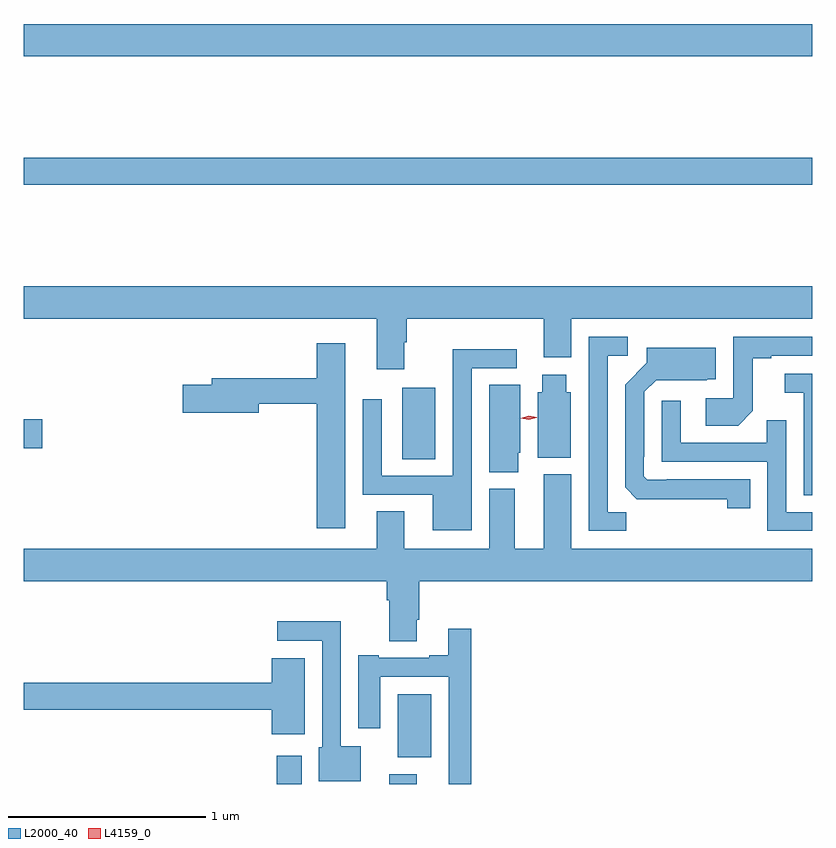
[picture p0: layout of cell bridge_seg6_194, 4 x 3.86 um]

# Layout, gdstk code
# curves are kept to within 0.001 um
import gdstk
lib = gdstk.Library(unit=1e-6, precision=1e-09)
def R(c, l, rs):  # rectangles x0, y0, x1, y1
    for r in rs: c.add(gdstk.rectangle(r[:2], r[2:], *l))
def P(c, l, *ps):  # polygons
    for p in ps: c.add(gdstk.Polygon(p, *l))
L2000_40 = (2000, 40)
L4159_0 = (4159, 0)

bridge_seg6_194 = lib.new_cell('bridge_seg6_194')
R(bridge_seg6_194, L2000_40, [(352.739,942.311,352.864,942.454), (353.309,942.311,353.449,942.361), (353.351,942.446,353.521,942.766), (353.375,943.96,353.542,944.323), (351.455,944.015,351.547,944.162), (351.455,945.352,355.455,945.488), (351.455,946.004,355.455,946.168)])
P(bridge_seg6_194, L2000_40, [(353.386,944.552),(353.399,944.552),(353.399,944.672),(354.092,944.672),(354.092,944.478),(354.232,944.478),(354.232,944.672),(355.455,944.672),(355.455,944.836),(351.455,944.836),(351.455,944.672),(353.246,944.672),(353.246,944.415),(353.386,944.415)],
  [(354.513,943.691),(354.417,943.691),(354.417,944.484),(354.52,944.484),(354.52,944.58),(354.321,944.58),(354.321,943.596),(354.513,943.596)],
  [(355.155,944.204),(355.155,944.472),(355.249,944.472),(355.249,944.484),(355.455,944.484),(355.455,944.58),(355.056,944.58),(355.056,944.268),(354.915,944.268),(354.915,944.128),(355.079,944.128)],
  [(353.086,944.548),(352.94,944.548),(352.94,944.371),(352.409,944.371),(352.409,944.337),(352.26,944.337),(352.26,944.195),(352.648,944.195),(352.648,944.242),(352.94,944.242),(352.94,943.608),(353.086,943.608)],
  [(355.142,943.857),(354.718,943.857),(354.718,943.854),(354.618,943.854),(354.6,943.872),(354.6,943.972),(354.603,943.972),(354.603,944.301),(354.663,944.361),(354.92,944.36),(354.926,944.366),(354.967,944.366),(354.967,944.524),(354.617,944.524),(354.617,944.448),(354.507,944.338),(354.507,943.816),(354.566,943.757),(355.024,943.756),(355.024,943.71),(355.142,943.71)],
  [(353.727,944.421),(353.956,944.421),(353.956,944.518),(353.631,944.518),(353.631,943.875),(353.271,943.875),(353.271,944.263),(353.175,944.263),(353.175,943.779),(353.531,943.779),(353.531,943.598),(353.727,943.598)],
  [(355.455,944.394),(355.317,944.394),(355.317,944.297),(355.413,944.297),(355.413,943.777),(355.455,943.777)],
  [(354.229,944.298),(354.208,944.298),(354.208,944.389),(354.086,944.389),(354.086,944.298),(354.062,944.298),(354.062,943.967),(354.229,943.967)],
  [(353.965,943.992),(353.974,943.992),(353.974,944.336),(353.816,944.336),(353.816,943.894),(353.965,943.894)],
  [(355.455,943.689),(355.323,943.689),(355.323,944.156),(355.225,944.156),(355.225,944.043),(354.789,944.043),(354.789,944.257),(354.693,944.257),(354.693,943.947),(355.227,943.947),(355.227,943.596),(355.455,943.596)],
  [(353.449,943.144),(353.462,943.144),(353.462,943.34),(355.455,943.34),(355.455,943.504),(354.232,943.504),(354.232,943.882),(354.092,943.882),(354.092,943.504),(353.947,943.504),(353.947,943.809),(353.816,943.809),(353.816,943.504),(353.386,943.504),(353.386,943.694),(353.246,943.694),(353.246,943.504),(351.455,943.504),(351.455,943.34),(353.297,943.34),(353.297,943.244),(353.309,943.244),(353.309,943.036),(353.449,943.036)],
  [(353.164,942.502),(353.064,942.502),(353.064,943.136),(352.74,943.136),(352.74,943.038),(352.968,943.038),(352.968,942.498),(352.952,942.498),(352.952,942.326),(353.164,942.326)],
  [(353.726,943.099),(353.609,943.099),(353.609,942.964),(353.513,942.964),(353.513,942.951),(353.257,942.951),(353.257,942.964),(353.153,942.964),(353.153,942.594),(353.263,942.594),(353.263,942.855),(353.61,942.855),(353.61,942.311),(353.726,942.311)],
  [(352.879,942.949),(352.712,942.949),(352.712,942.824),(351.455,942.824),(351.455,942.688),(352.712,942.688),(352.712,942.563),(352.879,942.563)])
P(bridge_seg6_194, L4159_0, [(354.018,944.159),(353.977,944.168),(353.977,944.168),(353.977,944.168),(354.017,944.179),(354.058,944.171),(354.058,944.17),(354.058,944.17)])

lib.write_gds('bridge_seg6_194.gds')
